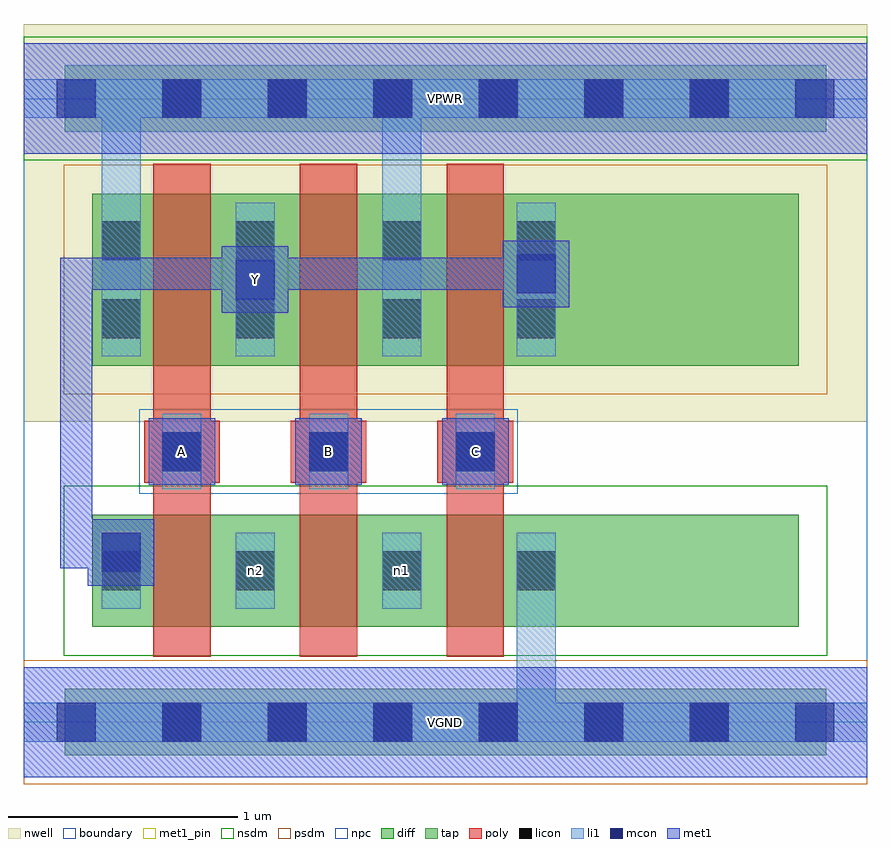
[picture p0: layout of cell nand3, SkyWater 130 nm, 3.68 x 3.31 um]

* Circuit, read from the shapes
.subckt nand3 A B C VGND VPWR Y n1 n2
XM1 n2 A Y VGND sky130_fd_pr__nfet_01v8 w=0.49 l=0.25
XM2 n1 B n2 VGND sky130_fd_pr__nfet_01v8 w=0.49 l=0.25
XM3 VGND C n1 VGND sky130_fd_pr__nfet_01v8 w=0.49 l=0.25
XM4 Y A VPWR VPWR sky130_fd_pr__pfet_01v8 w=0.75 l=0.25
XM5 VPWR B Y VPWR sky130_fd_pr__pfet_01v8 w=0.75 l=0.25
XM6 Y C VPWR VPWR sky130_fd_pr__pfet_01v8 w=0.75 l=0.25
.ends

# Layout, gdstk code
import gdstk
lib = gdstk.Library(unit=1e-6, precision=1e-09)
def R(c, l, rs):  # rectangles x0, y0, x1, y1
    for r in rs: c.add(gdstk.rectangle(r[:2], r[2:], *l))
def A(c, l, x, y, w, h, nx, ny, dx, dy):  # array of equal rectangles
    R(c, l, [(x+i*dx, y+j*dy, x+i*dx+w, y+j*dy+h) for i in range(nx) for j in range(ny)])
nwell = (64, 20)
diff = (65, 20)
tap = (65, 44)
poly = (66, 20)
licon = (66, 44)
li1 = (67, 20)
mcon = (67, 44)
met1_pin = (68, 16)
met1 = (68, 20)
nsdm = (93, 44)
psdm = (94, 20)
npc = (95, 20)
boundary = (235, 4)

nand3 = lib.new_cell('nand3')
R(nand3, nwell, [(0,1.31,3.68,3.045)])
R(nand3, diff, [(0.3,0.415,3.38,0.905), (0.3,1.555,3.38,2.305)])
R(nand3, tap, [(0.18,-0.145,3.5,0.145), (0.18,2.575,3.5,2.865)])
A(nand3, poly, 0.565, 0.285, 0.25, 2.15, 3, 1, 0.64, 0)
A(nand3, poly, 0.525, 1.045, 0.33, 0.27, 3, 1, 0.64, 0)
A(nand3, licon, 0.605, -0.085, 0.17, 0.17, 6, 2, 0.46, 2.72)
A(nand3, licon, 0.605, 1.095, 0.17, 0.17, 3, 1, 0.64, 0)
R(nand3, licon, [(0.34,0.575,0.51,0.745), (0.925,0.575,1.095,0.745), (1.565,0.575,1.735,0.745), (2.15,0.575,2.32,0.745), (0.34,1.675,0.51,1.845), (0.925,1.675,1.095,1.845), (1.565,1.675,1.735,1.845), (2.15,1.675,2.32,1.845), (0.34,2.015,0.51,2.185), (0.925,2.015,1.095,2.185), (1.565,2.015,1.735,2.185), (2.15,2.015,2.32,2.185)])
A(nand3, li1, 0.605, 1.015, 0.17, 0.33, 3, 1, 0.64, 0)
R(nand3, li1, [(0,-0.085,3.68,0.085), (2.15,-0.085,2.32,0.825), (0.34,0.495,0.51,0.825), (0.925,0.495,1.095,0.825), (1.565,0.495,1.735,0.825), (2.15,0.495,2.32,0.825), (0.34,1.595,0.51,2.265), (0.34,1.595,0.51,2.805), (0.925,1.595,1.095,2.265), (1.565,1.595,1.735,2.265), (1.565,1.595,1.735,2.805), (2.15,1.595,2.32,2.265), (0,2.635,3.68,2.805)])
A(nand3, mcon, 0.145, -0.085, 0.17, 0.17, 8, 2, 0.46, 2.72)
A(nand3, mcon, 0.605, 1.095, 0.17, 0.17, 3, 1, 0.64, 0)
R(nand3, mcon, [(0.34,0.655,0.51,0.825), (0.925,1.845,1.095,2.015), (2.15,1.87,2.32,2.04)])
A(nand3, met1_pin, 0.545, 1.035, 0.29, 0.29, 3, 1, 0.64, 0)
R(nand3, met1_pin, [(0,-0.24,3.68,0.24), (0.865,1.785,1.155,2.075), (0,2.48,3.68,2.96)])
A(nand3, met1, 0.545, 1.035, 0.29, 0.29, 3, 1, 0.64, 0)
R(nand3, met1, [(0,-0.24,3.68,0.24), (0.28,0.595,0.57,0.885), (0.16,0.67,0.495,0.81), (0.16,0.67,0.3,0.99), (0.16,0.85,0.3,2.025), (0.865,1.785,1.155,2.075), (2.09,1.81,2.38,2.1), (0.16,1.885,1.105,2.025), (0.965,1.885,1.105,2.025), (0.965,1.885,2.14,2.025), (2,1.885,2.305,2.025), (0,2.48,3.68,2.96)])
R(nand3, nsdm, [(0.175,0.29,3.505,1.03), (0,2.45,3.68,2.99)])
R(nand3, psdm, [(0,-0.27,3.68,0.27), (0.175,1.43,3.505,2.43)])
R(nand3, npc, [(0.505,0.995,2.155,1.365)])
R(nand3, boundary, [(0,0,3.68,2.72)])
nand3.add(gdstk.Label('n2', (1.01,0.66), layer=67, texttype=5))
nand3.add(gdstk.Label('n1', (1.65,0.66), layer=67, texttype=5))
nand3.add(gdstk.Label('A', (0.69,1.18), layer=68, texttype=5))
nand3.add(gdstk.Label('B', (1.33,1.18), layer=68, texttype=5))
nand3.add(gdstk.Label('C', (1.97,1.18), layer=68, texttype=5))
nand3.add(gdstk.Label('Y', (1.01,1.93), layer=68, texttype=5))
nand3.add(gdstk.Label('VPWR', (1.84,2.72), layer=68, texttype=5))
nand3.add(gdstk.Label('VGND', (1.84,0), layer=68, texttype=5))
nand3.add(gdstk.Label('A', (0.69,1.18), layer=68, texttype=16))
nand3.add(gdstk.Label('B', (1.33,1.18), layer=68, texttype=16))
nand3.add(gdstk.Label('C', (1.97,1.18), layer=68, texttype=16))
nand3.add(gdstk.Label('Y', (1.01,1.93), layer=68, texttype=16))
nand3.add(gdstk.Label('VPWR', (1.84,2.72), layer=68, texttype=16))
nand3.add(gdstk.Label('VGND', (1.84,0), layer=68, texttype=16))

lib.write_gds('nand3.gds')
